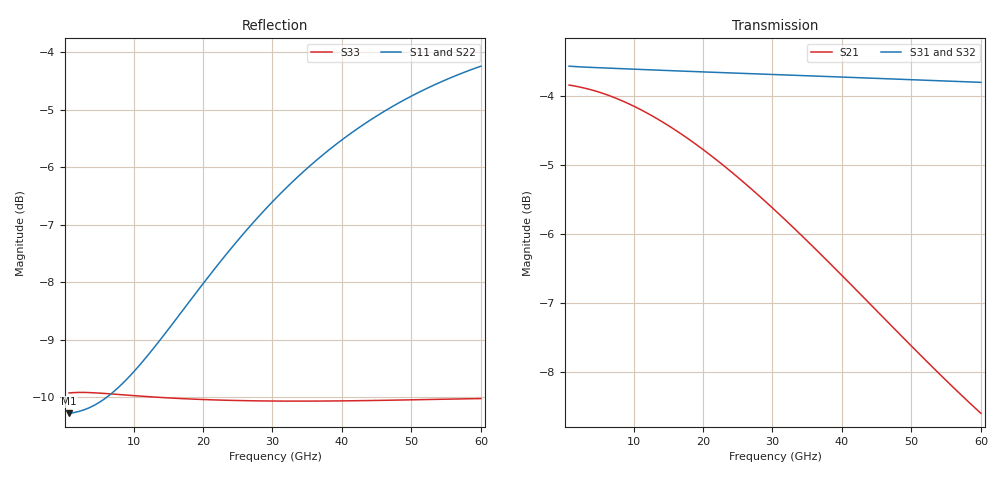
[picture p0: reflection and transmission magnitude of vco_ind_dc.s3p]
! Created with skrf 2.1.0 (http://scikit-rf.org).
# GHz S DB R 50.0
!freq dBS11 angS11 dBS12 angS12 dBS13 angS13
! dBS21 angS21 dBS22 angS22 dBS23 angS23
! dBS31 angS31 dBS32 angS32 dBS33 angS33
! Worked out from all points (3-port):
!   82 points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, 731.7 MHz to 60 GHz, reference 50 ohm
!   strongest paths, dB at 731.7 MHz, 15.37 GHz, 30.73 GHz, 45.37 GHz, 60 GHz:
!     S31: -3.6, -3.6, -3.7, -3.7, -3.8
!     S32: -3.7, -3.7, -3.8, -3.8, -3.9
!     S21: -3.8, -4.5, -5.7, -7.2, -8.6
!   lowest |S11| = -10.3 dB at 731.7 MHz (marker M1), VSWR 1.88, Z = 26.6 + j1.06 ohm
!   |S11| at or under -10 dB: start of sweep to 6.194 GHz
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0.7317073  -10.28 176.6  -3.84 -1.7  -3.57 -0.3
           -3.84 -1.7  -10.50 176.5  -3.67 -0.3
           -3.57 -0.3  -3.67 -0.3  -9.93 179.4
4.390244  -10.14 159.9  -3.93 -9.6  -3.59 -1.7
          -3.93 -9.6  -10.35 159.5  -3.69 -1.7
          -3.59 -1.7  -3.69 -1.7  -9.93 176.4
8.04878  -9.81 144.3  -4.06 -17.2  -3.61 -3.0
         -4.06 -17.2  -9.99 143.6  -3.70 -2.9
         -3.61 -3.0  -3.70 -2.9  -9.96 173.4
16.09756  -8.65 115.3  -4.50 -33.5  -3.64 -5.7
          -4.50 -33.5  -8.76 114.3  -3.73 -5.7
          -3.64 -5.7  -3.73 -5.7  -10.02 167.3
23.41463  -7.51 94.8  -5.05 -47.7  -3.67 -8.2
          -5.05 -47.7  -7.58 93.7  -3.75 -8.2
          -3.67 -8.2  -3.75 -8.2  -10.06 162.1
30.73171  -6.51 78.2  -5.69 -61.5  -3.69 -10.7
          -5.69 -61.5  -6.55 77.1  -3.78 -10.7
          -3.69 -10.7  -3.78 -10.7  -10.07 156.9
37.31707  -5.78 65.7  -6.33 -73.7  -3.72 -12.9
          -6.33 -73.7  -5.80 64.5  -3.80 -12.9
          -3.72 -12.9  -3.80 -12.9  -10.07 152.3
43.90244  -5.19 54.9  -7.00 -85.8  -3.74 -15.2
          -7.00 -85.8  -5.21 53.7  -3.82 -15.2
          -3.74 -15.2  -3.82 -15.2  -10.06 147.8
51.95122  -4.64 43.3  -7.82 -100.5  -3.77 -18.0
          -7.82 -100.5  -4.65 42.0  -3.84 -18.1
          -3.77 -18.0  -3.84 -18.1  -10.05 142.4
60  -4.24 32.9  -8.60 -115.3  -3.81 -20.9
    -8.60 -115.3  -4.24 31.6  -3.86 -21.0
    -3.81 -20.9  -3.86 -21.0  -10.03 137.1
